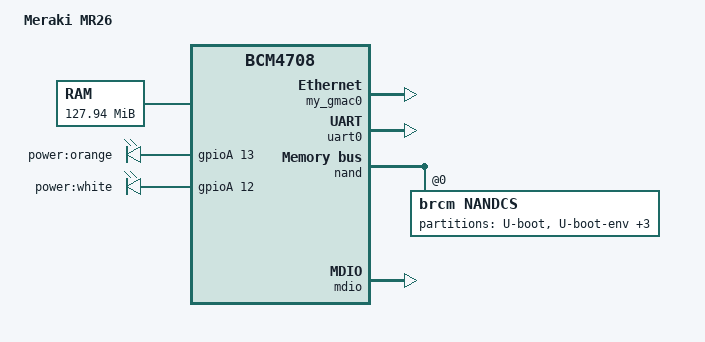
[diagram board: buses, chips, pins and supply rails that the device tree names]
/*
 *  BSD LICENSE
 *
 *  Copyright(c) 2015 Broadcom Corporation.  All rights reserved.
 *
 *  Redistribution and use in source and binary forms, with or without
 *  modification, are permitted provided that the following conditions
 *  are met:
 *
 *    * Redistributions of source code must retain the above copyright
 *      notice, this list of conditions and the following disclaimer.
 *    * Redistributions in binary form must reproduce the above copyright
 *      notice, this list of conditions and the following disclaimer in
 *      the documentation and/or other materials provided with the
 *      distribution.
 *    * Neither the name of Broadcom Corporation nor the names of its
 *      contributors may be used to endorse or promote products derived
 *      from this software without specific prior written permission.
 *
 *  THIS SOFTWARE IS PROVIDED BY THE COPYRIGHT HOLDERS AND CONTRIBUTORS
 *  "AS IS" AND ANY EXPRESS OR IMPLIED WARRANTIES, INCLUDING, BUT NOT
 *  LIMITED TO, THE IMPLIED WARRANTIES OF MERCHANTABILITY AND FITNESS FOR
 *  A PARTICULAR PURPOSE ARE DISCLAIMED. IN NO EVENT SHALL THE COPYRIGHT
 *  OWNER OR CONTRIBUTORS BE LIABLE FOR ANY DIRECT, INDIRECT, INCIDENTAL,
 *  SPECIAL, EXEMPLARY, OR CONSEQUENTIAL DAMAGES (INCLUDING, BUT NOT
 *  LIMITED TO, PROCUREMENT OF SUBSTITUTE GOODS OR SERVICES; LOSS OF USE,
 *  DATA, OR PROFITS; OR BUSINESS INTERRUPTION) HOWEVER CAUSED AND ON ANY
 *  THEORY OF LIABILITY, WHETHER IN CONTRACT, STRICT LIABILITY, OR TORT
 *  (INCLUDING NEGLIGENCE OR OTHERWISE) ARISING IN ANY WAY OUT OF THE USE
 *  OF THIS SOFTWARE, EVEN IF ADVISED OF THE POSSIBILITY OF SUCH DAMAGE.
 */

/dts-v1/;

#include "bcm4708.dtsi"

/ {
	model = "Meraki MR26";
	compatible = "meraki,venom";

	aliases {
		serial0 = &uart0;
	};

	chosen {
		stdout-path = "serial0:115200n8";
	};

	memory {
		reg = <0x00000000 0x07ff0000>;
	};

  leds {
      compatible = "gpio-leds";
      orange {
         label = "power:orange";
         gpios = <&gpioA 13 0>;
      };
      white {
         label = "power:white";
         gpios = <&gpioA 12 0>;
      };
   };

	tricolor-led {
		compatible = "numen,leds-nu801";
		controller1 {
			label = "tricolor";
			cki = <&gpioA 0 0>;
			sdi = <&gpioA 2 0>;
			lei = <&gpioA 1 0>;
			ndelay  = <50>;
			num_leds = <1>;
			led_color0 {
				label = "blue";
				state = "off";
			};
			led_color1 {
				label = "green";
				state = "off";
			};
			led_color2 {
				label = "red";
				state = "off";
			};
		};
	};

   wdt {
       compatible = "iproc-wdt";
       reg = <0x18000000 0x100>;
    };

	my_gmac0: ethernet@0x18026000 {
		compatible = "brcm,amac";
		mac-address = [ 00 18 0A 00 01 02 ];
		reg = <0x18026000 0x800>,
				<0x18112408 0x4000>,
				<0x18007000 0x1000>;
		reg-names = "amac_base", "idm_base","srab_base";
		interrupts = <GIC_SPI 149 IRQ_TYPE_LEVEL_HIGH>;
	};

	gpio-buttons {
	   button@1 {
	      gpios = <&gpioA 11 1>;
	   };
	};

	pcie2: pcie@18014000 {
                mii-bus = <&mdio>;
        };
};

&uart0 {
	status = "okay";
   clock-frequency = <50000000>;
};

&nand {
	status = "okay";

	nandcs@0 {
		compatible = "brcm,nandcs";
		reg = <0>;
		nand-on-flash-bbt;

		#address-cells = <1>;
		#size-cells = <1>;

		nand-ecc-mode = "hw";
		nand-bus-width = <8>;
		nand-ecc-strength = <8>;
		nand-ecc-step-size = <512>;

		brcm,nand-oob-sector-size = <16>;

      partition@0 {
         label = "U-boot";
         reg = <0x00000000 0x200000>;
      };

      partition@1 {
         label = "U-boot-env";
         reg = <0x200000 0x200000>;
      };

      partition@2 {
         label = "U-boot-backup";
         reg = <0x400000 0x200000>;
      };

      partition@3 {
         label = "U-boot-env-backup";
         reg = <0x600000 0x200000>;
      };

      partition@4 {
         label = "ubi";
         reg = <0x800000 0x7780000>;
      };
	};
};

&mdio {
    status = "okay";
};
